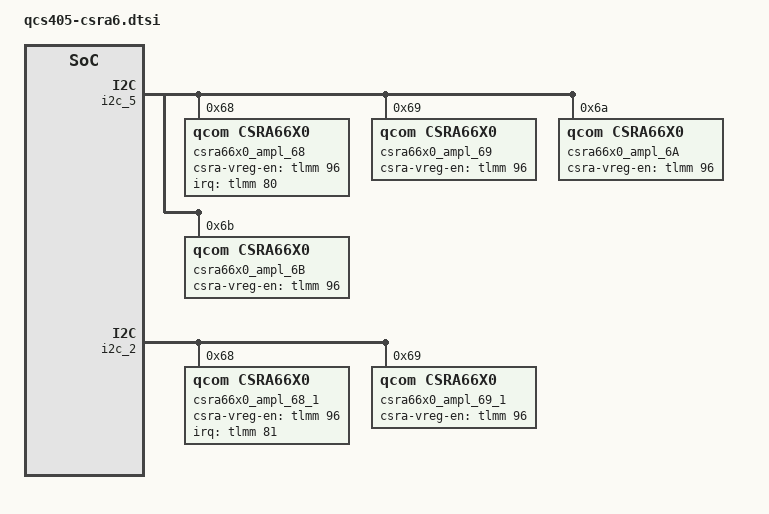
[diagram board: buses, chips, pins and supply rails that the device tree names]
/*
 * Copyright (c) 2018, The Linux Foundation. All rights reserved.
 *
 * This program is free software; you can redistribute it and/or modify
 * it under the terms of the GNU General Public License version 2 and
 * only version 2 as published by the Free Software Foundation.
 *
 * This program is distributed in the hope that it will be useful,
 * but WITHOUT ANY WARRANTY; without even the implied warranty of
 * MERCHANTABILITY or FITNESS FOR A PARTICULAR PURPOSE.  See the
 * GNU General Public License for more details.
 */

&i2c_5 {
	qcom,clk-freq-out = <100000>;
	status = "okay";
	/* CSRA66X0 cluster GRP_0 */
	csra66x0_ampl_68: csra66x0@68 {
		compatible = "qcom,csra66x0";
		reg = <0x68>;
		qcom,csra-vreg-en-gpio = <&tlmm 96 0>;
		qcom,csra-cluster = <1>;
		qcom,csra-cluster-master = <1>;
		interrupt-parent = <&tlmm>;
		interrupts = <80 IRQ_TYPE_LEVEL_HIGH>;
		irq-active-low = <0>;
	};

	csra66x0_ampl_69: csra66x0@69 {
		compatible = "qcom,csra66x0";
		reg = <0x69>;
		qcom,csra-vreg-en-gpio = <&tlmm 96 0>;
		qcom,csra-cluster = <1>;
	};

	csra66x0_ampl_6A: csra66x0@6A {
		compatible = "qcom,csra66x0";
		reg = <0x6A>;
		qcom,csra-vreg-en-gpio = <&tlmm 96 0>;
		qcom,csra-cluster = <1>;
	};

	csra66x0_ampl_6B: csra66x0@6B {
		compatible = "qcom,csra66x0";
		reg = <0x6B>;
		qcom,csra-vreg-en-gpio = <&tlmm 96 0>;
		qcom,csra-cluster = <1>;
	};
};

&i2c_2 {
	status = "okay";
	/* CSRA66X0 cluster GRP_1 */
	csra66x0_ampl_68_1: csra66x0_1@68 {
		compatible = "qcom,csra66x0";
		reg = <0x68>;
		qcom,csra-vreg-en-gpio = <&tlmm 96 0>;
		qcom,csra-cluster = <1>;
		qcom,csra-cluster-master = <1>;
		interrupt-parent = <&tlmm>;
		interrupts = <81 IRQ_TYPE_LEVEL_HIGH>;
		irq-active-low = <0>;
	};

	csra66x0_ampl_69_1: csra66x0_1@69 {
		compatible = "qcom,csra66x0";
		reg = <0x69>;
		qcom,csra-vreg-en-gpio = <&tlmm 96 0>;
		qcom,csra-cluster = <1>;
	};
};

&csra66x0_ampl_68 {
	status = "okay";
};

&csra66x0_ampl_69 {
	status = "okay";
};

&csra66x0_ampl_6A {
	status = "okay";
};

&csra66x0_ampl_6B {
	status = "okay";
};

&csra66x0_ampl_68_1 {
	status = "okay";
};

&csra66x0_ampl_69_1 {
	status = "okay";
};
